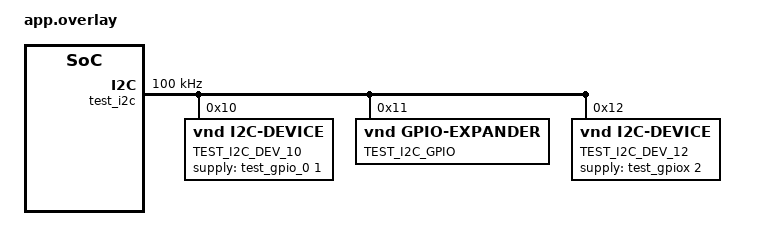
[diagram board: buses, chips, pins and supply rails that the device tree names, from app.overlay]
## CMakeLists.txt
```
# SPDX-License-Identifier: Apache-2.0

cmake_minimum_required(VERSION 3.13.1)

find_package(Zephyr REQUIRED HINTS $ENV{ZEPHYR_BASE})
project(devicetree_devices)

FILE(GLOB app_sources src/*.c)
target_sources(app PRIVATE ${app_sources})
```

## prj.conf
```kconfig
CONFIG_ZTEST=y
CONFIG_I2C=n
```

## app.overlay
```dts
/*
 * Copyright (c) 2020 Nordic Semiconductor ASA
 *
 * SPDX-License-Identifier: Apache-2.0
 *
 * Application overlay for testing the devicetree.h API.
 *
 * Names in this file should be chosen in a way that won't conflict
 * with real-world devicetree nodes, to allow these tests to run on
 * (and be extended to test) real hardware.
 */

/ {
	test {
		#address-cells = <0x1>;
		#size-cells = <0x1>;

		test_gpio_0: gpio@0 {
			gpio-controller;
			#gpio-cells = <0x2>;
			compatible = "vnd,gpio";
			status = "okay";
			reg = <0x0 0x1000>;
			label = "TEST_GPIO_0";
		};

		test_i2c: i2c@11112222 {
			#address-cells = <1>;
			#size-cells = <0>;
			compatible = "vnd,i2c";
			status = "okay";
			reg = <0x11112222 0x1000>;
			clock-frequency = <100000>;
			label = "TEST_I2C_CTLR";

			test_dev_a: test-i2c-dev@10 {
				compatible = "vnd,i2c-device";
				status = "okay";
				reg = <0x10>;
				supply-gpios = <&test_gpio_0 1 0>;
				label = "TEST_I2C_DEV_10";
			};

			test_gpiox: test-i2c-dev@11 {
				gpio-controller;
				#gpio-cells = <2>;
				compatible = "vnd,gpio-expander";
				status = "okay";
				reg = <0x11>;
				label = "TEST_I2C_GPIO";
			};

			test_dev_b: test-i2c-dev@12 {
				compatible = "vnd,i2c-device";
				status = "okay";
				reg = <0x12>;
				supply-gpios = <&test_gpiox 2 0>;
				label = "TEST_I2C_DEV_12";
			};
		};
	};
};
```

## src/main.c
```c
/*
 * Copyright (c) 2020 Nordic Semiconductor ASA
 *
 * SPDX-License-Identifier: Apache-2.0
 */

#include <ztest.h>
#include <devicetree.h>
#include <device.h>
#include <drivers/gpio.h>

#define TEST_GPIO DT_NODELABEL(test_gpio_0)
#define TEST_I2C DT_NODELABEL(test_i2c)
#define TEST_DEVA DT_NODELABEL(test_dev_a)
#define TEST_GPIOX DT_NODELABEL(test_gpiox)
#define TEST_DEVB DT_NODELABEL(test_dev_b)

static const struct device *devlist;
static const struct device *devlist_end;

static device_handle_t init_order[10];

static int dev_init(const struct device *dev)
{
	static uint8_t init_idx;

	__ASSERT_NO_MSG(init_idx < ARRAY_SIZE(init_order));
	init_order[init_idx++] = device_handle_get(dev);

	return 0;
}

DEVICE_DT_DEFINE(TEST_GPIO, dev_init, NULL,
		 NULL, NULL, PRE_KERNEL_1, 90, NULL);
DEVICE_DT_DEFINE(TEST_I2C, dev_init, NULL,
		 NULL, NULL, POST_KERNEL, 10, NULL);
DEVICE_DT_DEFINE(TEST_DEVA, dev_init, NULL,
		 NULL, NULL, POST_KERNEL, 20, NULL);
/* NB: Intentional init devb before required gpiox */
DEVICE_DT_DEFINE(TEST_DEVB, dev_init, NULL,
		 NULL, NULL, POST_KERNEL, 30, NULL);
DEVICE_DT_DEFINE(TEST_GPIOX, dev_init, NULL,
		 NULL, NULL, POST_KERNEL, 40, NULL);

#define DEV_HDL(node_id) device_handle_get(DEVICE_DT_GET(node_id))

static void test_init_order(void)
{
	zassert_equal(init_order[0], DEV_HDL(TEST_GPIO),
		      NULL);
	zassert_equal(init_order[1], DEV_HDL(TEST_I2C),
		      NULL);
	zassert_equal(init_order[2], DEV_HDL(TEST_DEVA),
		      NULL);
	zassert_equal(init_order[3], DEV_HDL(TEST_DEVB),
		      NULL);
	zassert_equal(init_order[4], DEV_HDL(TEST_GPIOX),
		      NULL);
}

static bool check_handle(device_handle_t hdl,
			 const device_handle_t *hdls,
			 size_t nhdls)
{
	const device_handle_t *hdle = hdls + nhdls;

	while (hdls < hdle) {
		if (*hdls == hdl) {
			return true;
		}
		++hdls;
	}

	return false;
}

struct requires_context {
	uint8_t ndevs;
	const struct device *rdevs[2];
};

static int requires_visitor(const struct device *dev,
			    void *context)
{
	struct requires_context *ctx = context;
	const struct device **rdp = ctx->rdevs;

	while (rdp < (ctx->rdevs + ctx->ndevs)) {
		if (*rdp == NULL) {
			*rdp = dev;
			return 0;
		}

		++rdp;
	}

	return -ENOSPC;
}

static void test_requires(void)
{
	size_t nhdls = 0;
	const device_handle_t *hdls;
	const struct device *dev;
	struct requires_context ctx = { 0 };

	/* TEST_GPIO: no req */
	dev = device_get_binding(DT_LABEL(TEST_GPIO));
	zassert_equal(dev, DEVICE_DT_GET(TEST_GPIO), NULL);
	hdls = device_required_handles_get(dev, &nhdls);
	zassert_equal(nhdls, 0, NULL);
	zassert_equal(0, device_required_foreach(dev, requires_visitor, &ctx),
		      NULL);

	/* TEST_I2C: no req */
	dev = device_get_binding(DT_LABEL(TEST_I2C));
	zassert_equal(dev, DEVICE_DT_GET(TEST_I2C), NULL);
	hdls = device_required_handles_get(dev, &nhdls);
	zassert_equal(nhdls, 0, NULL);
	zassert_equal(0, device_required_foreach(dev, requires_visitor, &ctx),
		      NULL);

	/* TEST_DEVA: TEST_I2C GPIO */
	dev = device_get_binding(DT_LABEL(TEST_DEVA));
	zassert_equal(dev, DEVICE_DT_GET(TEST_DEVA), NULL);
	hdls = device_required_handles_get(dev, &nhdls);
	zassert_equal(nhdls, 2, NULL);
	zassert_true(check_handle(DEV_HDL(TEST_I2C), hdls, nhdls), NULL);
	zassert_true(check_handle(DEV_HDL(TEST_GPIO), hdls, nhdls), NULL);

	/* Visit fails if not enough space */
	ctx = (struct requires_context){
		.ndevs = 1,
	};
	zassert_equal(-ENOSPC, device_required_foreach(dev, requires_visitor, &ctx),
		      NULL);

	/* Visit succeeds if enough space. */
	ctx = (struct requires_context){
		.ndevs = 2,
	};
	zassert_equal(2, device_required_foreach(dev, requires_visitor, &ctx),
		      NULL);
	zassert_true((ctx.rdevs[0] == device_from_handle(DEV_HDL(TEST_I2C)))
		      || (ctx.rdevs[1] == device_from_handle(DEV_HDL(TEST_I2C))),
		     NULL);
	zassert_true((ctx.rdevs[0] == device_from_handle(DEV_HDL(TEST_GPIO)))
		      || (ctx.rdevs[1] == device_from_handle(DEV_HDL(TEST_GPIO))),
		     NULL);

	/* TEST_GPIOX: TEST_I2C */
	dev = device_get_binding(DT_LABEL(TEST_GPIOX));
	zassert_equal(dev, DEVICE_DT_GET(TEST_GPIOX), NULL);
	hdls = device_required_handles_get(dev, &nhdls);
	zassert_equal(nhdls, 1, NULL);
	zassert_true(check_handle(DEV_HDL(TEST_I2C), hdls, nhdls), NULL);
	ctx = (struct requires_context){
		.ndevs = 3,
	};
	zassert_equal(1, device_required_foreach(dev, requires_visitor, &ctx),
		      NULL);
	zassert_true(ctx.rdevs[0] == device_from_handle(DEV_HDL(TEST_I2C)),
		     NULL);

	/* TEST_DEVB: TEST_I2C TEST_GPIOX */
	dev = device_get_binding(DT_LABEL(TEST_DEVB));
	zassert_equal(dev, DEVICE_DT_GET(TEST_DEVB), NULL);
	hdls = device_required_handles_get(dev, &nhdls);
	zassert_equal(nhdls, 2, NULL);
	zassert_true(check_handle(DEV_HDL(TEST_I2C), hdls, nhdls), NULL);
	zassert_true(check_handle(DEV_HDL(TEST_GPIOX), hdls, nhdls), NULL);
}

void test_main(void)
{
	size_t ndevs;

	ndevs = z_device_get_all_static(&devlist);
	devlist_end = devlist + ndevs;

	ztest_test_suite(devicetree_driver,
			 ztest_unit_test(test_init_order),
			 ztest_unit_test(test_requires)
		);
	ztest_run_test_suite(devicetree_driver);
}
```
